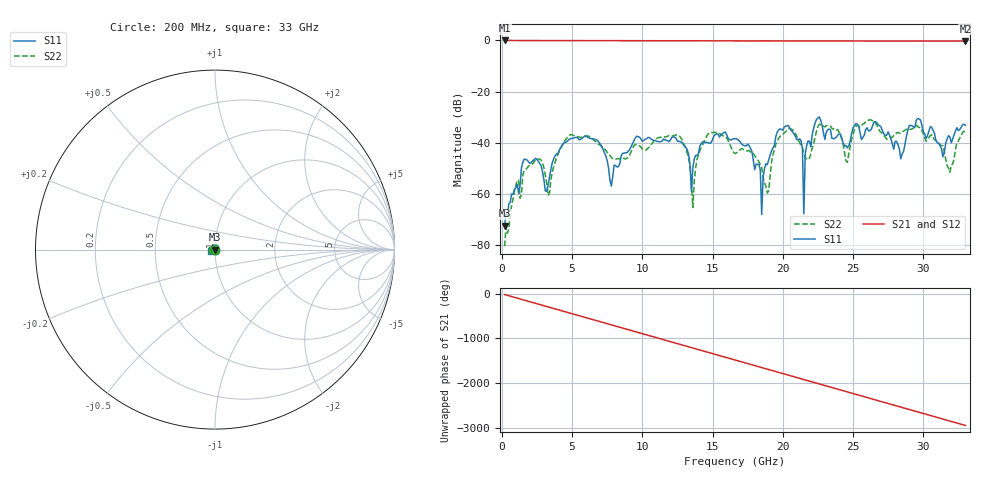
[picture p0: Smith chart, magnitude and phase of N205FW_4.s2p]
# GHZ S RI R 50
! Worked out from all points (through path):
!   329 points, 200 MHz to 33 GHz, reference 50 ohm
!   highest |S21| = -0.02 dB at 200 MHz (marker M1); lowest = -0.3 dB at 33 GHz (marker M2)
!   group delay of S21, straight-line fit = 248 ps
!   lowest |S11| = -72.4 dB at 200 MHz (marker M3), VSWR 1.00, Z = 50 - j0.00845 ohm
!   |S11| at or under -10 dB: start of sweep to end of sweep
!   |S22| runs from -80.4 to -31.0 dB; largest |S21 - S12| = 0.0022
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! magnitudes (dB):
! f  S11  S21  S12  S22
! 200 MHz  -72.4  0.0  0.0  -80.4
! 1.6 GHz  -46.4  -0.1  -0.1  -50.8
! 3.2 GHz  -59.0  -0.1  -0.1  -55.9
! 5.7 GHz  -38.3  -0.1  -0.1  -37.9
! 7.8 GHz  -57.0  -0.1  -0.1  -45.8
! 11.2 GHz  -39.6  -0.1  -0.1  -37.9
! 12.9 GHz  -40.5  -0.1  -0.1  -39.7
! 13.6 GHz  -49.8  -0.2  -0.2  -65.3
! 13.9 GHz  -45.0  -0.2  -0.2  -46.3
! 14.7 GHz  -40.0  -0.2  -0.2  -36.5
! 16.6 GHz  -38.4  -0.2  -0.2  -44.2
! 18.3 GHz  -48.4  -0.2  -0.2  -47.4
! 18.5 GHz  -68.0  -0.2  -0.2  -49.6
! 18.8 GHz  -48.2  -0.2  -0.2  -57.1
! 20.4 GHz  -33.3  -0.2  -0.2  -34.5
! 21.4 GHz  -42.3  -0.2  -0.2  -41.8
! 21.5 GHz  -67.8  -0.2  -0.2  -43.9
! 21.6 GHz  -44.3  -0.2  -0.2  -46.1
! 22.1 GHz  -36.7  -0.2  -0.2  -41.9
! 27.6 GHz  -37.0  -0.2  -0.2  -37.9
! 31.9 GHz  -37.7  -0.3  -0.3  -51.5
! 33 GHz  -33.2  -0.3  -0.3  -35.7
